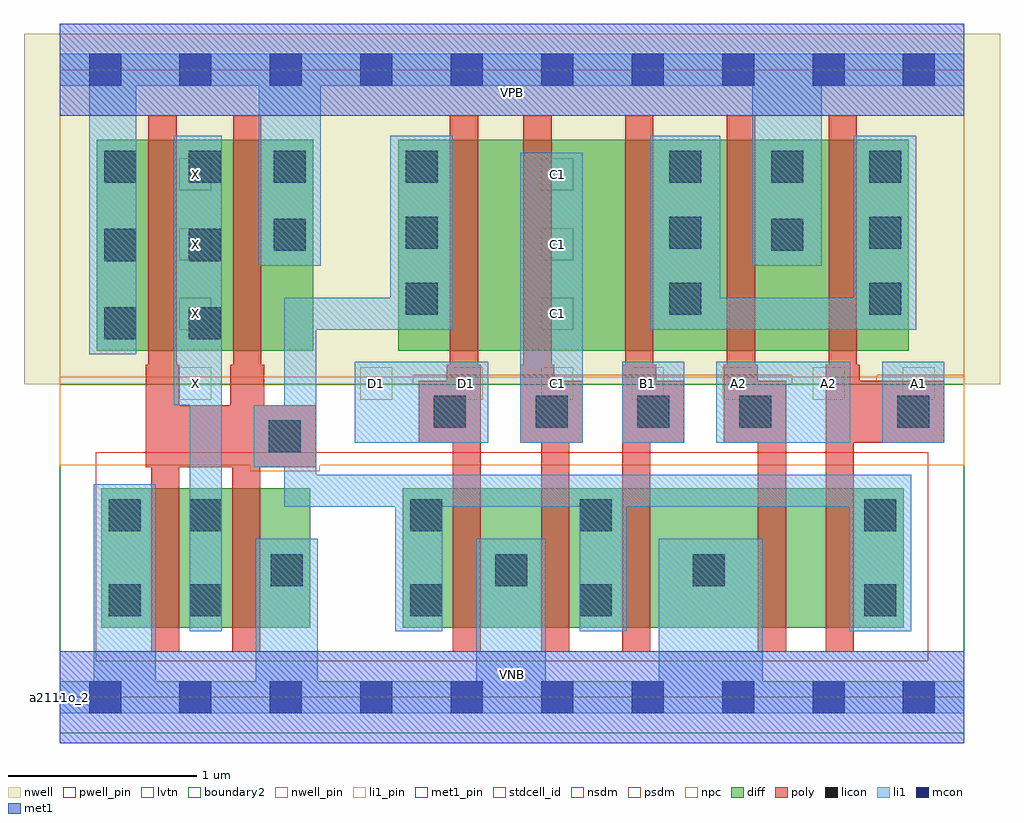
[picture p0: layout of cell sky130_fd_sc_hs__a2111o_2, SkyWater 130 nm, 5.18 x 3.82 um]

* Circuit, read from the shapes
.subckt sky130_fd_sc_hs__a2111o_2 A1 A2 B1 C1 D1 VGND VNB VPB VPWR X
XM1 X n1 VGND VNB sky130_fd_pr__nfet_01v8_lvt w=0.74 l=0.15 m=2
XM2 VGND D1 n1 VNB sky130_fd_pr__nfet_01v8_lvt w=0.74 l=0.15
XM3 n1 C1 VGND VNB sky130_fd_pr__nfet_01v8_lvt w=0.74 l=0.15
XM4 VGND B1 n1 VNB sky130_fd_pr__nfet_01v8_lvt w=0.74 l=0.15
XM5 n2 A2 VGND VNB sky130_fd_pr__nfet_01v8_lvt w=0.74 l=0.15
XM6 n1 A1 n2 VNB sky130_fd_pr__nfet_01v8_lvt w=0.74 l=0.15
XM7 X n1 VPWR VPB sky130_fd_pr__pfet_01v8 w=1.12 l=0.15 m=2
XM8 n3 D1 n1 VPB sky130_fd_pr__pfet_01v8 w=1.12 l=0.15
XM9 n4 C1 n3 VPB sky130_fd_pr__pfet_01v8 w=1.12 l=0.15
XM10 n5 B1 n4 VPB sky130_fd_pr__pfet_01v8 w=1.12 l=0.15
XM11 VPWR A2 n5 VPB sky130_fd_pr__pfet_01v8 w=1.12 l=0.15
XM12 n5 A1 VPWR VPB sky130_fd_pr__pfet_01v8 w=1.12 l=0.15
.ends

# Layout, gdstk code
import gdstk
lib = gdstk.Library(unit=1e-6, precision=1e-09)
def R(c, l, rs):  # rectangles x0, y0, x1, y1
    for r in rs: c.add(gdstk.rectangle(r[:2], r[2:], *l))
def A(c, l, x, y, w, h, nx, ny, dx, dy):  # array of equal rectangles
    R(c, l, [(x+i*dx, y+j*dy, x+i*dx+w, y+j*dy+h) for i in range(nx) for j in range(ny)])
def P(c, l, *ps):  # polygons
    for p in ps: c.add(gdstk.Polygon(p, *l))
nwell_pin = (64, 16)
nwell = (64, 20)
diff = (65, 20)
poly = (66, 20)
licon = (66, 44)
li1_pin = (67, 16)
li1 = (67, 20)
mcon = (67, 44)
met1_pin = (68, 16)
met1 = (68, 20)
stdcell_id = (81, 4)
nsdm = (93, 44)
psdm = (94, 20)
npc = (95, 20)
pwell_pin = (122, 16)
lvtn = (125, 44)
boundary2 = (236, 0)

sky130_fd_sc_hs__a2111o_ = lib.new_cell('sky130_fd_sc_hs__a2111o_2')
R(sky130_fd_sc_hs__a2111o_, nwell_pin, [(0,3.085,4.8,3.33)])
R(sky130_fd_sc_hs__a2111o_, nwell, [(-0.19,1.66,4.99,3.52)])
R(sky130_fd_sc_hs__a2111o_, diff, [(0.22,0.37,1.33,1.11), (1.82,0.37,4.48,1.11), (0.195,1.84,1.345,2.96), (1.795,1.84,4.505,2.96)])
P(sky130_fd_sc_hs__a2111o_, poly, [(4.695,1.68),(4.245,1.68),(4.245,1.765),(4.23,1.765),(4.23,3.09),(4.08,3.09),(4.08,1.765),(4.065,1.765),(4.065,0.24),(4.215,0.24),(4.215,1.35),(4.695,1.35)],
  [(3.855,1.68),(3.705,1.68),(3.705,1.765),(3.69,1.765),(3.69,3.09),(3.54,3.09),(3.54,1.765),(3.525,1.765),(3.525,1.35),(3.705,1.35),(3.705,0.24),(3.855,0.24)],
  [(3.315,1.68),(3.165,1.68),(3.165,1.765),(3.15,1.765),(3.15,3.09),(3,3.09),(3,1.765),(2.985,1.765),(2.985,0.24),(3.135,0.24),(3.135,1.35),(3.315,1.35)],
  [(2.775,1.68),(2.625,1.68),(2.625,1.765),(2.61,1.765),(2.61,3.09),(2.46,3.09),(2.46,1.765),(2.445,1.765),(2.445,1.35),(2.555,1.35),(2.555,0.24),(2.705,0.24),(2.705,1.35),(2.775,1.35)],
  [(2.235,1.765),(2.22,1.765),(2.22,3.09),(2.07,3.09),(2.07,1.765),(2.055,1.765),(2.055,1.68),(1.905,1.68),(1.905,1.35),(2.085,1.35),(2.085,0.24),(2.235,0.24)],
  [(1.36,1.55),(1.085,1.55),(1.085,1.765),(1.07,1.765),(1.07,3.09),(0.92,3.09),(0.92,1.765),(0.905,1.765),(0.905,1.55),(0.635,1.55),(0.635,1.765),(0.62,1.765),(0.62,3.09),(0.47,3.09),(0.47,1.765),(0.455,1.765),(0.455,1.22),(0.485,1.22),(0.485,0.24),(0.635,0.24),(0.635,1.22),(0.915,1.22),(0.915,0.24),(1.065,0.24),(1.065,1.22),(1.36,1.22)])
A(sky130_fd_sc_hs__a2111o_, licon, 1.985, 1.43, 0.17, 0.17, 4, 1, 0.54, 0)
A(sky130_fd_sc_hs__a2111o_, licon, 1.835, 2.03, 0.17, 0.17, 1, 3, 0, 0.35)
A(sky130_fd_sc_hs__a2111o_, licon, 3.235, 2.03, 0.17, 0.17, 1, 3, 0, 0.35)
A(sky130_fd_sc_hs__a2111o_, licon, 4.295, 2.03, 0.17, 0.17, 1, 3, 0, 0.35)
A(sky130_fd_sc_hs__a2111o_, licon, 0.235, 2.73, 0.17, 0.17, 3, 1, 0.45, 0)
R(sky130_fd_sc_hs__a2111o_, licon, [(0.26,0.43,0.43,0.6), (0.69,0.43,0.86,0.6), (1.86,0.43,2.03,0.6), (2.76,0.43,2.93,0.6), (4.27,0.43,4.44,0.6), (1.12,0.59,1.29,0.76), (2.31,0.59,2.48,0.76), (3.36,0.59,3.53,0.76), (0.26,0.88,0.43,1.05), (0.69,0.88,0.86,1.05), (1.86,0.88,2.03,1.05), (2.76,0.88,2.93,1.05), (4.27,0.88,4.44,1.05), (1.11,1.3,1.28,1.47), (4.445,1.43,4.615,1.6), (0.235,1.9,0.405,2.07), (0.685,1.9,0.855,2.07), (0.235,2.315,0.405,2.485), (0.685,2.315,0.855,2.485), (1.135,2.37,1.305,2.54), (3.775,2.37,3.945,2.54), (3.775,2.73,3.945,2.9)])
A(sky130_fd_sc_hs__a2111o_, li1_pin, 0.635, 1.58, 0.17, 0.17, 1, 4, 0, 0.37)
A(sky130_fd_sc_hs__a2111o_, li1_pin, 1.595, 1.58, 0.17, 0.17, 7, 1, 0.48, 0)
A(sky130_fd_sc_hs__a2111o_, li1_pin, 2.555, 1.95, 0.17, 0.17, 1, 3, 0, 0.37)
R(sky130_fd_sc_hs__a2111o_, li1, [(1.565,1.35,2.275,1.78), (2.445,1.35,2.775,2.89), (2.985,1.35,3.315,1.78), (3.485,1.35,4.195,1.78), (4.365,1.35,4.695,1.78)])
P(sky130_fd_sc_hs__a2111o_, li1, [(1.055,2.29),(1.055,3.245),(0.405,3.245),(0.405,1.82),(0.155,1.82),(0.155,3.245),(0,3.245),(0,3.415),(4.8,3.415),(4.8,3.245),(4.045,3.245),(4.045,2.29),(3.675,2.29),(3.675,3.245),(1.385,3.245),(1.385,2.29)],
  [(2.21,0.085),(2.21,0.84),(2.58,0.84),(2.58,0.085),(3.18,0.085),(3.18,0.84),(3.73,0.84),(3.73,0.085),(4.8,0.085),(4.8,-0.085),(0,-0.085),(0,0.085),(0.18,0.085),(0.18,1.13),(0.51,1.13),(0.51,0.085),(1.04,0.085),(1.04,0.84),(1.37,0.84),(1.37,0.085)],
  [(2.76,0.35),(2.76,1.01),(2.03,1.01),(2.03,0.35),(1.78,0.35),(1.78,1.01),(1.19,1.01),(1.19,1.22),(1.03,1.22),(1.03,1.55),(1.19,1.55),(1.19,2.12),(1.755,2.12),(1.755,2.98),(2.085,2.98),(2.085,1.95),(1.36,1.95),(1.36,1.18),(4.52,1.18),(4.52,0.35),(4.19,0.35),(4.19,1.01),(3.01,1.01),(3.01,0.35)],
  [(4.215,2.12),(4.215,2.98),(4.545,2.98),(4.545,1.95),(3.135,1.95),(3.135,2.98),(3.505,2.98),(3.505,2.12)],
  [(0.69,0.35),(0.69,1.55),(0.605,1.55),(0.605,2.98),(0.86,2.98),(0.86,0.35)])
A(sky130_fd_sc_hs__a2111o_, mcon, 0.155, -0.085, 0.17, 0.17, 10, 2, 0.48, 3.33)
R(sky130_fd_sc_hs__a2111o_, met1_pin, [(0,0,4.8,0.245), (0,3.085,4.8,3.33)])
R(sky130_fd_sc_hs__a2111o_, met1, [(0,-0.245,4.8,0.245), (0,3.085,4.8,3.575)])
R(sky130_fd_sc_hs__a2111o_, stdcell_id, [(0,0,4.8,3.33)])
R(sky130_fd_sc_hs__a2111o_, nsdm, [(0,-0.19,4.8,1.66)])
P(sky130_fd_sc_hs__a2111o_, psdm, [(4.8,3.52),(0,3.52),(0,1.66),(1.875,1.66),(1.875,1.71),(3.885,1.71),(3.885,1.66),(4.335,1.66),(4.335,1.71),(4.8,1.71)])
P(sky130_fd_sc_hs__a2111o_, npc, [(4.8,1.7),(0,1.7),(0,1.23),(1.01,1.23),(1.01,1.2),(1.38,1.2),(1.38,1.23),(4.8,1.23)])
R(sky130_fd_sc_hs__a2111o_, pwell_pin, [(0,0,4.8,0.245)])
R(sky130_fd_sc_hs__a2111o_, lvtn, [(0.19,0.19,4.61,1.3)])
R(sky130_fd_sc_hs__a2111o_, boundary2, [(0,0,4.8,3.33)])
sky130_fd_sc_hs__a2111o_.add(gdstk.Label('a2111o_2', (0,0), layer=83, texttype=44))
sky130_fd_sc_hs__a2111o_.add(gdstk.Label('VNB', (2.4,0.123), layer=64, texttype=59))
sky130_fd_sc_hs__a2111o_.add(gdstk.Label('VPB', (2.4,3.208), layer=64, texttype=5))
sky130_fd_sc_hs__a2111o_.add(gdstk.Label('VPWR', (2.4,3.208), layer=68, texttype=5))
sky130_fd_sc_hs__a2111o_.add(gdstk.Label('VGND', (2.4,0.123), layer=68, texttype=5))
sky130_fd_sc_hs__a2111o_.add(gdstk.Label('D1', (1.68,1.665), layer=67, texttype=5))
sky130_fd_sc_hs__a2111o_.add(gdstk.Label('D1', (2.16,1.665), layer=67, texttype=5))
sky130_fd_sc_hs__a2111o_.add(gdstk.Label('C1', (2.64,1.665), layer=67, texttype=5))
sky130_fd_sc_hs__a2111o_.add(gdstk.Label('C1', (2.64,2.035), layer=67, texttype=5))
sky130_fd_sc_hs__a2111o_.add(gdstk.Label('C1', (2.64,2.405), layer=67, texttype=5))
sky130_fd_sc_hs__a2111o_.add(gdstk.Label('C1', (2.64,2.775), layer=67, texttype=5))
sky130_fd_sc_hs__a2111o_.add(gdstk.Label('B1', (3.12,1.665), layer=67, texttype=5))
sky130_fd_sc_hs__a2111o_.add(gdstk.Label('A2', (3.6,1.665), layer=67, texttype=5))
sky130_fd_sc_hs__a2111o_.add(gdstk.Label('A2', (4.08,1.665), layer=67, texttype=5))
sky130_fd_sc_hs__a2111o_.add(gdstk.Label('A1', (4.56,1.665), layer=67, texttype=5))
sky130_fd_sc_hs__a2111o_.add(gdstk.Label('X', (0.72,1.665), layer=67, texttype=5))
sky130_fd_sc_hs__a2111o_.add(gdstk.Label('X', (0.72,2.035), layer=67, texttype=5))
sky130_fd_sc_hs__a2111o_.add(gdstk.Label('X', (0.72,2.405), layer=67, texttype=5))
sky130_fd_sc_hs__a2111o_.add(gdstk.Label('X', (0.72,2.775), layer=67, texttype=5))

lib.write_gds('sky130_fd_sc_hs__a2111o_2.gds')
